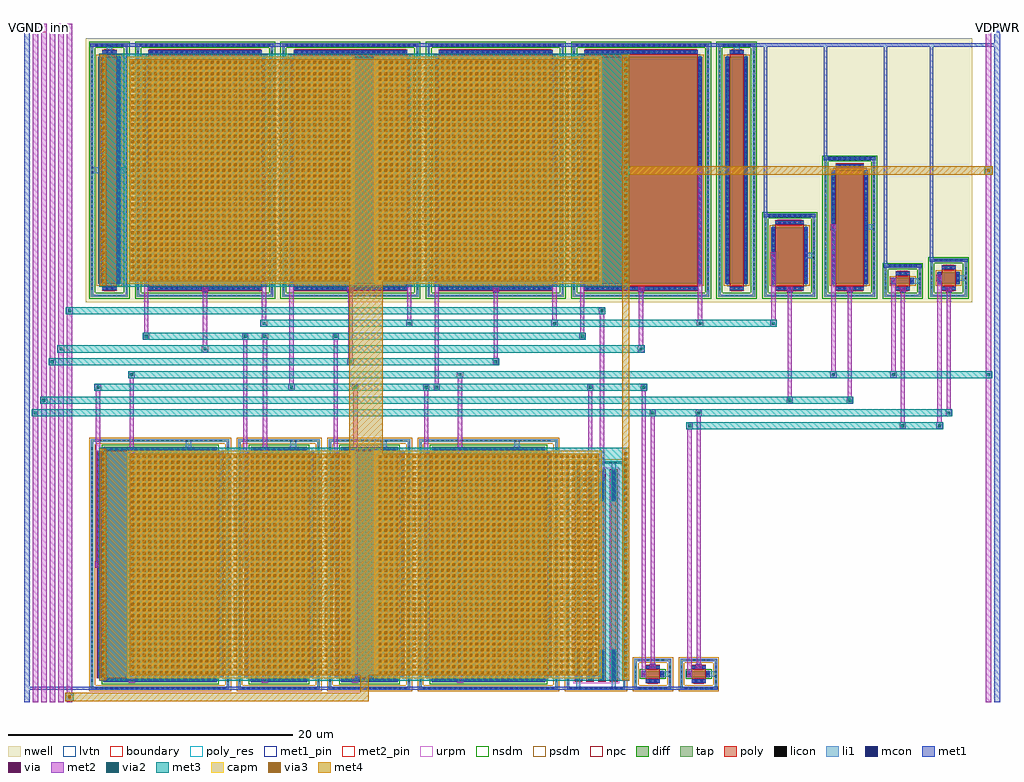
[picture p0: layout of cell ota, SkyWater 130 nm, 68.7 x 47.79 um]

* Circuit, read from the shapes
.subckt ota VDPWR VGND inn inp out pbias pd
XM1 VGND sky130_fd_pr__nfet_01v8_CSU8FU_2/D out VGND sky130_fd_pr__nfet_01v8 w=8 l=16 m=2
XM2 VGND sky130_fd_pr__nfet_01v8_CSU8FU_1/D sky130_fd_pr__nfet_01v8_CSU8FU_1/D VGND sky130_fd_pr__nfet_01v8 w=4 l=16
XM3 VGND sky130_fd_pr__nfet_01v8_CSU8FU_1/D sky130_fd_pr__nfet_01v8_CSU8FU_2/D VGND sky130_fd_pr__nfet_01v8 w=4 l=16
XM4 VGND pd sky130_fd_pr__nfet_01v8_CSU8FU_2/D VGND sky130_fd_pr__nfet_01v8 w=0.42 l=1
XM5 VGND pd sky130_fd_pr__nfet_01v8_R4QQLY_6/D VGND sky130_fd_pr__nfet_01v8 w=0.42 l=1
XM6 VDPWR VDPWR VDPWR VDPWR sky130_fd_pr__pfet_01v8_lvt w=16 l=1 m=2
XM7 sky130_fd_pr__pfet_01v8_lvt_HAFB3J_19/D inn sky130_fd_pr__nfet_01v8_CSU8FU_1/D VDPWR sky130_fd_pr__pfet_01v8_lvt w=16 l=8 m=2
XM8 sky130_fd_pr__pfet_01v8_lvt_HAFB3J_19/D inp sky130_fd_pr__nfet_01v8_CSU8FU_2/D VDPWR sky130_fd_pr__pfet_01v8_lvt w=16 l=8 m=2
XM9 VDPWR pbias sky130_fd_pr__pfet_01v8_lvt_HAFB3J_19/D VDPWR sky130_fd_pr__pfet_01v8_lvt w=4 l=2
XM10 VDPWR pbias out VDPWR sky130_fd_pr__pfet_01v8_lvt w=8 l=2
XM11 VDPWR sky130_fd_pr__nfet_01v8_R4QQLY_6/D out VDPWR sky130_fd_pr__pfet_01v8 w=0.42 l=1
XM12 VDPWR pd sky130_fd_pr__nfet_01v8_R4QQLY_6/D VDPWR sky130_fd_pr__pfet_01v8 w=0.84 l=1
XC13 sky130_fd_pr__cap_mim_m3_1_QZGL3U_12/C1 out sky130_fd_pr__cap_mim_m3_1 w=16 l=16 m=4
XR14 VGND VGND VGND sky130_fd_pr__res_xhigh_po w=0.35 l=10.49 m=2
XR15 sky130_fd_pr__nfet_01v8_CSU8FU_2/D sky130_fd_pr__res_xhigh_po_0p35_3T73LN_4/R2_1 VGND sky130_fd_pr__res_xhigh_po w=0.35 l=10.49
XR16 sky130_fd_pr__cap_mim_m3_1_QZGL3U_12/C1 sky130_fd_pr__res_xhigh_po_0p35_3T73LN_4/R2_1 VGND sky130_fd_pr__res_xhigh_po w=0.35 l=10.49
.ends

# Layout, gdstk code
from math import pi, radians
import gdstk
lib = gdstk.Library(unit=1e-6, precision=1e-09)
def R(c, l, rs):  # rectangles x0, y0, x1, y1
    for r in rs: c.add(gdstk.rectangle(r[:2], r[2:], *l))
def A(c, l, x, y, w, h, nx, ny, dx, dy):  # array of equal rectangles
    R(c, l, [(x+i*dx, y+j*dy, x+i*dx+w, y+j*dy+h) for i in range(nx) for j in range(ny)])
nwell = (64, 20)
diff = (65, 20)
tap = (65, 44)
poly_res = (66, 13)
poly = (66, 20)
licon = (66, 44)
li1 = (67, 20)
mcon = (67, 44)
met1_pin = (68, 16)
met1 = (68, 20)
via = (68, 44)
met2_pin = (69, 16)
met2 = (69, 20)
via2 = (69, 44)
met3 = (70, 20)
via3 = (70, 44)
met4 = (71, 20)
urpm = (79, 20)
capm = (89, 44)
nsdm = (93, 44)
psdm = (94, 20)
npc = (95, 20)
lvtn = (125, 44)
boundary = (235, 4)

sky130_fd_pr__nfet_01v8_ = lib.new_cell('sky130_fd_pr__nfet_01v8_ACH3XA')
R(sky130_fd_pr__nfet_01v8_, diff, [(-8.29,-4,8.29,4)])
R(sky130_fd_pr__nfet_01v8_, tap, [(-8.8,-4.87,8.8,-4.7), (-8.8,-4.7,-8.63,4.7), (8.63,-4.7,8.8,4.7), (-8.8,4.7,8.8,4.87)])
R(sky130_fd_pr__nfet_01v8_, poly, [(-8,-4.44,8,4.44)])
A(sky130_fd_pr__nfet_01v8_, licon, -8.245, -4.87, 0.17, 0.17, 49, 2, 0.34, 9.57)
A(sky130_fd_pr__nfet_01v8_, licon, -7.905, -4.36, 0.17, 0.17, 47, 2, 0.34, 8.55)
A(sky130_fd_pr__nfet_01v8_, licon, -8.8, -4.335, 0.17, 0.17, 1, 26, 0, 0.34)
A(sky130_fd_pr__nfet_01v8_, licon, 8.63, -4.335, 0.17, 0.17, 1, 26, 0, 0.34)
A(sky130_fd_pr__nfet_01v8_, licon, -8.23, -3.825, 0.17, 0.17, 1, 23, 0, 0.34)
A(sky130_fd_pr__nfet_01v8_, licon, 8.06, -3.825, 0.17, 0.17, 1, 23, 0, 0.34)
R(sky130_fd_pr__nfet_01v8_, li1, [(-8.8,-4.87,8.8,-4.7), (-8.8,-4.7,-8.63,4.7), (8.63,-4.7,8.8,4.7), (-8,-4.36,8,-4.19), (-8.23,-4.02,-8.06,4.02), (8.06,-4.02,8.23,4.02), (-8,4.19,8,4.36), (-8.8,4.7,8.8,4.87)])
A(sky130_fd_pr__nfet_01v8_, mcon, -8.8, -4.585, 0.17, 0.17, 1, 26, 0, 0.36)
A(sky130_fd_pr__nfet_01v8_, mcon, -7.825, -4.36, 0.17, 0.17, 44, 2, 0.36, 8.55)
A(sky130_fd_pr__nfet_01v8_, mcon, -8.23, -3.865, 0.17, 0.17, 1, 22, 0, 0.36)
A(sky130_fd_pr__nfet_01v8_, mcon, 8.06, -3.865, 0.17, 0.17, 1, 22, 0, 0.36)
R(sky130_fd_pr__nfet_01v8_, met1, [(-8.83,-4.76,-8.6,4.76), (-7.98,-4.39,7.98,-4.16), (-8.26,-4,-8.03,4), (8.03,-4,8.26,4), (-7.98,4.16,7.98,4.39)])
R(sky130_fd_pr__nfet_01v8_, nsdm, [(-8.415,-4.125,8.415,4.125)])
R(sky130_fd_pr__nfet_01v8_, psdm, [(-8.925,-4.995,8.925,-4.575), (-8.925,-4.575,-8.505,4.575), (8.505,-4.575,8.925,4.575), (-8.925,4.575,8.925,4.995)])
R(sky130_fd_pr__nfet_01v8_, npc, [(-8.005,-4.46,8.005,-4.09), (-8.005,4.09,8.005,4.46)])
R(sky130_fd_pr__nfet_01v8_, boundary, [(-8.715,-4.785,8.715,4.785)])
sky130_fd_pr__nfet_01v8_.add(gdstk.Label('B', (0,-4.785), layer=67, texttype=5))
sky130_fd_pr__nfet_01v8_.add(gdstk.Label('D', (-8.145,0), layer=67, texttype=5))
sky130_fd_pr__nfet_01v8_.add(gdstk.Label('S', (8.145,0), layer=67, texttype=5))
sky130_fd_pr__nfet_01v8_.add(gdstk.Label('G', (0,4.275), layer=67, texttype=5))

c_sky130_fd_pr__nfet_01v8_ = lib.new_cell('sky130_fd_pr__nfet_01v8_CSU8FU')
R(c_sky130_fd_pr__nfet_01v8_, diff, [(-8.29,-2,8.29,2)])
R(c_sky130_fd_pr__nfet_01v8_, tap, [(-8.8,-2.87,8.8,-2.7), (-8.8,-2.7,-8.63,2.7), (8.63,-2.7,8.8,2.7), (-8.8,2.7,8.8,2.87)])
R(c_sky130_fd_pr__nfet_01v8_, poly, [(-8,-2.44,8,2.44)])
A(c_sky130_fd_pr__nfet_01v8_, licon, -8.245, -2.87, 0.17, 0.17, 49, 2, 0.34, 5.57)
A(c_sky130_fd_pr__nfet_01v8_, licon, -7.905, -2.36, 0.17, 0.17, 47, 2, 0.34, 4.55)
A(c_sky130_fd_pr__nfet_01v8_, licon, -8.8, -2.295, 0.17, 0.17, 1, 14, 0, 0.34)
A(c_sky130_fd_pr__nfet_01v8_, licon, 8.63, -2.295, 0.17, 0.17, 1, 14, 0, 0.34)
A(c_sky130_fd_pr__nfet_01v8_, licon, -8.23, -1.785, 0.17, 0.17, 1, 11, 0, 0.34)
A(c_sky130_fd_pr__nfet_01v8_, licon, 8.06, -1.785, 0.17, 0.17, 1, 11, 0, 0.34)
R(c_sky130_fd_pr__nfet_01v8_, li1, [(-8.8,-2.87,8.8,-2.7), (-8.8,-2.7,-8.63,2.7), (8.63,-2.7,8.8,2.7), (-8,-2.36,8,-2.19), (-8.23,-2.02,-8.06,2.02), (8.06,-2.02,8.23,2.02), (-8,2.19,8,2.36), (-8.8,2.7,8.8,2.87)])
A(c_sky130_fd_pr__nfet_01v8_, mcon, -8.8, -2.605, 0.17, 0.17, 1, 15, 0, 0.36)
A(c_sky130_fd_pr__nfet_01v8_, mcon, -7.825, -2.36, 0.17, 0.17, 44, 2, 0.36, 4.55)
A(c_sky130_fd_pr__nfet_01v8_, mcon, -8.23, -1.885, 0.17, 0.17, 1, 11, 0, 0.36)
A(c_sky130_fd_pr__nfet_01v8_, mcon, 8.06, -1.885, 0.17, 0.17, 1, 11, 0, 0.36)
R(c_sky130_fd_pr__nfet_01v8_, met1, [(-8.83,-2.76,-8.6,2.76), (-7.98,-2.39,7.98,-2.16), (-8.26,-2,-8.03,2), (8.03,-2,8.26,2), (-7.98,2.16,7.98,2.39)])
R(c_sky130_fd_pr__nfet_01v8_, nsdm, [(-8.415,-2.125,8.415,2.125)])
R(c_sky130_fd_pr__nfet_01v8_, psdm, [(-8.925,-2.995,8.925,-2.575), (-8.925,-2.575,-8.505,2.575), (8.505,-2.575,8.925,2.575), (-8.925,2.575,8.925,2.995)])
R(c_sky130_fd_pr__nfet_01v8_, npc, [(-8.005,-2.46,8.005,-2.09), (-8.005,2.09,8.005,2.46)])
R(c_sky130_fd_pr__nfet_01v8_, boundary, [(-8.715,-2.785,8.715,2.785)])
c_sky130_fd_pr__nfet_01v8_.add(gdstk.Label('B', (0,-2.785), layer=67, texttype=5))
c_sky130_fd_pr__nfet_01v8_.add(gdstk.Label('D', (-8.145,0), layer=67, texttype=5))
c_sky130_fd_pr__nfet_01v8_.add(gdstk.Label('S', (8.145,0), layer=67, texttype=5))
c_sky130_fd_pr__nfet_01v8_.add(gdstk.Label('G', (0,2.275), layer=67, texttype=5))

sky130_fd_pr__res_xhigh_ = lib.new_cell('sky130_fd_pr__res_xhigh_po_0p35_3T73LN')
R(sky130_fd_pr__res_xhigh_, tap, [(-2.07,-8.035,2.07,-7.865), (-2.07,-7.865,-1.9,7.865), (1.9,-7.865,2.07,7.865), (-2.07,7.865,2.07,8.035)])
A(sky130_fd_pr__res_xhigh_, poly_res, -1.42, -5.305, 0.35, 10.61, 4, 1, 0.83, 0)
A(sky130_fd_pr__res_xhigh_, poly, -1.42, -7.385, 0.35, 14.77, 4, 1, 0.83, 0)
A(sky130_fd_pr__res_xhigh_, licon, -1.445, -8.035, 0.17, 0.17, 9, 2, 0.34, 15.9)
A(sky130_fd_pr__res_xhigh_, licon, -2.07, -7.395, 0.17, 0.17, 1, 44, 0, 0.34)
A(sky130_fd_pr__res_xhigh_, licon, 1.9, -7.395, 0.17, 0.17, 1, 44, 0, 0.34)
A(sky130_fd_pr__res_xhigh_, licon, -1.34, -7.305, 0.19, 2, 4, 2, 0.83, 12.61)
A(sky130_fd_pr__res_xhigh_, li1, -1.42, -7.385, 0.35, 2.16, 4, 2, 0.83, 12.61)
R(sky130_fd_pr__res_xhigh_, li1, [(-2.07,-8.035,2.07,-7.865), (-2.07,-7.865,-1.9,7.865), (1.9,-7.865,2.07,7.865), (-2.07,7.865,2.07,8.035)])
A(sky130_fd_pr__res_xhigh_, mcon, -1.885, -8.035, 0.17, 0.17, 11, 1, 0.36, 0)
A(sky130_fd_pr__res_xhigh_, mcon, -1.33, -7.29, 0.17, 0.17, 4, 6, 0.83, 0.36)
A(sky130_fd_pr__res_xhigh_, mcon, -1.33, 5.315, 0.17, 0.17, 4, 6, 0.83, 0.36)
A(sky130_fd_pr__res_xhigh_, met1, -1.37, -7.355, 0.25, 2.105, 4, 2, 0.83, 12.605)
R(sky130_fd_pr__res_xhigh_, met1, [(-1.96,-8.065,1.96,-7.835)])
R(sky130_fd_pr__res_xhigh_, urpm, [(-1.62,-7.585,1.62,7.585)])
R(sky130_fd_pr__res_xhigh_, psdm, [(-2.195,-8.16,2.195,8.16)])
A(sky130_fd_pr__res_xhigh_, npc, -1.515, -7.48, 0.54, 14.96, 4, 1, 0.83, 0)
R(sky130_fd_pr__res_xhigh_, boundary, [(-1.985,-7.95,1.985,7.95)])
sky130_fd_pr__res_xhigh_.add(gdstk.Label('B', (0,-7.95), layer=67, texttype=5))
sky130_fd_pr__res_xhigh_.add(gdstk.Label('R1_0', (-1.245,7.21), layer=67, texttype=5))
sky130_fd_pr__res_xhigh_.add(gdstk.Label('R2_0', (-1.245,-7.21), layer=67, texttype=5))
sky130_fd_pr__res_xhigh_.add(gdstk.Label('R1_1', (-0.415,7.21), layer=67, texttype=5))
sky130_fd_pr__res_xhigh_.add(gdstk.Label('R2_1', (-0.415,-7.21), layer=67, texttype=5))
sky130_fd_pr__res_xhigh_.add(gdstk.Label('R1_2', (0.415,7.21), layer=67, texttype=5))
sky130_fd_pr__res_xhigh_.add(gdstk.Label('R2_2', (0.415,-7.21), layer=67, texttype=5))
sky130_fd_pr__res_xhigh_.add(gdstk.Label('R1_3', (1.245,7.21), layer=67, texttype=5))
sky130_fd_pr__res_xhigh_.add(gdstk.Label('R2_3', (1.245,-7.21), layer=67, texttype=5))

c_sky130_fd_pr__nfet_01v8__ = lib.new_cell('sky130_fd_pr__nfet_01v8_R4QQLY')
R(c_sky130_fd_pr__nfet_01v8__, diff, [(-0.79,-0.21,0.79,0.21)])
R(c_sky130_fd_pr__nfet_01v8__, tap, [(-1.3,-1.08,1.3,-0.91), (-1.3,-0.91,-1.13,0.91), (1.13,-0.91,1.3,0.91), (-1.3,0.91,1.3,1.08)])
R(c_sky130_fd_pr__nfet_01v8__, poly, [(-0.5,-0.65,0.5,0.65)])
A(c_sky130_fd_pr__nfet_01v8__, licon, -0.765, -1.08, 0.17, 0.17, 5, 2, 0.34, 1.99)
A(c_sky130_fd_pr__nfet_01v8__, licon, -1.3, -0.595, 0.17, 0.17, 1, 4, 0, 0.34)
A(c_sky130_fd_pr__nfet_01v8__, licon, 1.13, -0.595, 0.17, 0.17, 1, 4, 0, 0.34)
R(c_sky130_fd_pr__nfet_01v8__, licon, [(-0.255,-0.57,-0.085,-0.4), (0.085,-0.57,0.255,-0.4), (-0.73,-0.085,-0.56,0.085), (0.56,-0.085,0.73,0.085), (-0.255,0.4,-0.085,0.57), (0.085,0.4,0.255,0.57)])
R(c_sky130_fd_pr__nfet_01v8__, li1, [(-1.3,-1.08,1.3,-0.91), (-1.3,-0.91,-1.13,0.91), (1.13,-0.91,1.3,0.91), (-0.5,-0.57,0.5,-0.4), (-0.73,-0.23,-0.56,0.23), (0.56,-0.23,0.73,0.23), (-0.5,0.4,0.5,0.57), (-1.3,0.91,1.3,1.08)])
A(c_sky130_fd_pr__nfet_01v8__, mcon, -0.985, -1.08, 0.17, 0.17, 6, 1, 0.36, 0)
R(c_sky130_fd_pr__nfet_01v8__, mcon, [(-0.265,-0.57,-0.095,-0.4), (0.095,-0.57,0.265,-0.4), (-0.73,-0.085,-0.56,0.085), (0.56,-0.085,0.73,0.085), (-0.265,0.4,-0.095,0.57), (0.095,0.4,0.265,0.57)])
R(c_sky130_fd_pr__nfet_01v8__, met1, [(-1.19,-1.11,1.19,-0.88), (-0.48,-0.6,0.48,-0.37), (-0.76,-0.21,-0.53,0.21), (0.53,-0.21,0.76,0.21), (-0.48,0.37,0.48,0.6)])
R(c_sky130_fd_pr__nfet_01v8__, nsdm, [(-0.915,-0.335,0.915,0.335)])
R(c_sky130_fd_pr__nfet_01v8__, psdm, [(-1.425,-1.205,1.425,-0.785), (-1.425,-0.785,-1.005,0.785), (1.005,-0.785,1.425,0.785), (-1.425,0.785,1.425,1.205)])
R(c_sky130_fd_pr__nfet_01v8__, npc, [(-0.355,-0.67,0.355,-0.3), (-0.355,0.3,0.355,0.67)])
R(c_sky130_fd_pr__nfet_01v8__, boundary, [(-1.215,-0.995,1.215,0.995)])
c_sky130_fd_pr__nfet_01v8__.add(gdstk.Label('B', (0,-0.995), layer=67, texttype=5))
c_sky130_fd_pr__nfet_01v8__.add(gdstk.Label('D', (-0.645,0), layer=67, texttype=5))
c_sky130_fd_pr__nfet_01v8__.add(gdstk.Label('S', (0.645,0), layer=67, texttype=5))
c_sky130_fd_pr__nfet_01v8__.add(gdstk.Label('G', (0,0.485), layer=67, texttype=5))

sky130_fd_pr__pfet_01v8_ = lib.new_cell('sky130_fd_pr__pfet_01v8_lvt_LXFZ2J')
R(sky130_fd_pr__pfet_01v8_, nwell, [(-1.48,-9.095,1.48,9.095)])
R(sky130_fd_pr__pfet_01v8_, diff, [(-0.79,-8,0.79,8)])
R(sky130_fd_pr__pfet_01v8_, tap, [(-1.3,-8.915,1.3,-8.745), (-1.3,-8.745,-1.13,8.745), (1.13,-8.745,1.3,8.745), (-1.3,8.745,1.3,8.915)])
R(sky130_fd_pr__pfet_01v8_, poly, [(-0.5,-8.485,0.5,8.485)])
A(sky130_fd_pr__pfet_01v8_, licon, -0.765, -8.915, 0.17, 0.17, 5, 2, 0.34, 17.66)
A(sky130_fd_pr__pfet_01v8_, licon, -1.3, -8.415, 0.17, 0.17, 1, 50, 0, 0.34)
A(sky130_fd_pr__pfet_01v8_, licon, 1.13, -8.415, 0.17, 0.17, 1, 50, 0, 0.34)
A(sky130_fd_pr__pfet_01v8_, licon, -0.73, -7.905, 0.17, 0.17, 1, 47, 0, 0.34)
A(sky130_fd_pr__pfet_01v8_, licon, 0.56, -7.905, 0.17, 0.17, 1, 47, 0, 0.34)
R(sky130_fd_pr__pfet_01v8_, licon, [(-0.255,-8.405,-0.085,-8.235), (0.085,-8.405,0.255,-8.235), (-0.255,8.235,-0.085,8.405), (0.085,8.235,0.255,8.405)])
R(sky130_fd_pr__pfet_01v8_, li1, [(-1.3,-8.915,1.3,-8.745), (-1.3,-8.745,-1.13,8.745), (1.13,-8.745,1.3,8.745), (-0.5,-8.405,0.5,-8.235), (-0.73,-8.02,-0.56,8.02), (0.56,-8.02,0.73,8.02), (-0.5,8.235,0.5,8.405), (-1.3,8.745,1.3,8.915)])
A(sky130_fd_pr__pfet_01v8_, mcon, -0.73, -7.825, 0.17, 0.17, 1, 44, 0, 0.36)
A(sky130_fd_pr__pfet_01v8_, mcon, 0.56, -7.825, 0.17, 0.17, 1, 44, 0, 0.36)
A(sky130_fd_pr__pfet_01v8_, mcon, -0.985, 8.745, 0.17, 0.17, 6, 1, 0.36, 0)
R(sky130_fd_pr__pfet_01v8_, mcon, [(-0.265,-8.405,-0.095,-8.235), (0.095,-8.405,0.265,-8.235), (-0.265,8.235,-0.095,8.405), (0.095,8.235,0.265,8.405)])
R(sky130_fd_pr__pfet_01v8_, met1, [(-0.48,-8.435,0.48,-8.205), (-0.76,-8,-0.53,8), (0.53,-8,0.76,8), (-0.48,8.205,0.48,8.435), (-1.19,8.715,1.19,8.945)])
R(sky130_fd_pr__pfet_01v8_, nsdm, [(-1.425,-9.04,1.425,-8.62), (-1.425,-8.62,-1.005,8.62), (1.005,-8.62,1.425,8.62), (-1.425,8.62,1.425,9.04)])
R(sky130_fd_pr__pfet_01v8_, psdm, [(-0.915,-8.125,0.915,8.125)])
R(sky130_fd_pr__pfet_01v8_, npc, [(-0.355,-8.505,0.355,-8.135), (-0.355,8.135,0.355,8.505)])
R(sky130_fd_pr__pfet_01v8_, lvtn, [(-0.68,-8.18,0.68,8.18)])
R(sky130_fd_pr__pfet_01v8_, boundary, [(-1.215,-8.83,1.215,8.83)])
sky130_fd_pr__pfet_01v8_.add(gdstk.Label('B', (0,-8.83), layer=67, texttype=5))
sky130_fd_pr__pfet_01v8_.add(gdstk.Label('D', (-0.645,0), layer=67, texttype=5))
sky130_fd_pr__pfet_01v8_.add(gdstk.Label('S', (0.645,0), layer=67, texttype=5))
sky130_fd_pr__pfet_01v8_.add(gdstk.Label('G', (0,8.32), layer=67, texttype=5))

c_sky130_fd_pr__pfet_01v8_ = lib.new_cell('sky130_fd_pr__pfet_01v8_lvt_BDGZ2J')
R(c_sky130_fd_pr__pfet_01v8_, nwell, [(-4.98,-9.095,4.98,9.095)])
R(c_sky130_fd_pr__pfet_01v8_, diff, [(-4.29,-8,4.29,8)])
R(c_sky130_fd_pr__pfet_01v8_, tap, [(-4.8,-8.915,4.8,-8.745), (-4.8,-8.745,-4.63,8.745), (4.63,-8.745,4.8,8.745), (-4.8,8.745,4.8,8.915)])
R(c_sky130_fd_pr__pfet_01v8_, poly, [(-4,-8.485,4,8.485)])
A(c_sky130_fd_pr__pfet_01v8_, licon, -4.165, -8.915, 0.17, 0.17, 25, 2, 0.34, 17.66)
A(c_sky130_fd_pr__pfet_01v8_, licon, -4.8, -8.415, 0.17, 0.17, 1, 50, 0, 0.34)
A(c_sky130_fd_pr__pfet_01v8_, licon, 4.63, -8.415, 0.17, 0.17, 1, 50, 0, 0.34)
A(c_sky130_fd_pr__pfet_01v8_, licon, -3.825, -8.405, 0.17, 0.17, 23, 2, 0.34, 16.64)
A(c_sky130_fd_pr__pfet_01v8_, licon, -4.23, -7.905, 0.17, 0.17, 1, 47, 0, 0.34)
A(c_sky130_fd_pr__pfet_01v8_, licon, 4.06, -7.905, 0.17, 0.17, 1, 47, 0, 0.34)
R(c_sky130_fd_pr__pfet_01v8_, li1, [(-4.8,-8.915,4.8,-8.745), (-4.8,-8.745,-4.63,8.745), (4.63,-8.745,4.8,8.745), (-4,-8.405,4,-8.235), (-4.23,-8.02,-4.06,8.02), (4.06,-8.02,4.23,8.02), (-4,8.235,4,8.405), (-4.8,8.745,4.8,8.915)])
A(c_sky130_fd_pr__pfet_01v8_, mcon, -3.865, -8.405, 0.17, 0.17, 22, 2, 0.36, 16.64)
A(c_sky130_fd_pr__pfet_01v8_, mcon, -4.23, -7.825, 0.17, 0.17, 1, 44, 0, 0.36)
A(c_sky130_fd_pr__pfet_01v8_, mcon, 4.06, -7.825, 0.17, 0.17, 1, 44, 0, 0.36)
A(c_sky130_fd_pr__pfet_01v8_, mcon, -4.585, 8.745, 0.17, 0.17, 26, 1, 0.36, 0)
R(c_sky130_fd_pr__pfet_01v8_, met1, [(-3.98,-8.435,3.98,-8.205), (-4.26,-8,-4.03,8), (4.03,-8,4.26,8), (-3.98,8.205,3.98,8.435), (-4.69,8.715,4.69,8.945)])
R(c_sky130_fd_pr__pfet_01v8_, nsdm, [(-4.925,-9.04,4.925,-8.62), (-4.925,-8.62,-4.505,8.62), (4.505,-8.62,4.925,8.62), (-4.925,8.62,4.925,9.04)])
R(c_sky130_fd_pr__pfet_01v8_, psdm, [(-4.415,-8.125,4.415,8.125)])
R(c_sky130_fd_pr__pfet_01v8_, npc, [(-3.925,-8.505,3.925,-8.135), (-3.925,8.135,3.925,8.505)])
R(c_sky130_fd_pr__pfet_01v8_, lvtn, [(-4.18,-8.18,4.18,8.18)])
R(c_sky130_fd_pr__pfet_01v8_, boundary, [(-4.715,-8.83,4.715,8.83)])
c_sky130_fd_pr__pfet_01v8_.add(gdstk.Label('B', (0,-8.83), layer=67, texttype=5))
c_sky130_fd_pr__pfet_01v8_.add(gdstk.Label('D', (-4.145,0), layer=67, texttype=5))
c_sky130_fd_pr__pfet_01v8_.add(gdstk.Label('S', (4.145,0), layer=67, texttype=5))
c_sky130_fd_pr__pfet_01v8_.add(gdstk.Label('G', (0,8.32), layer=67, texttype=5))

sky130_fd_pr__cap_mim_m3 = lib.new_cell('sky130_fd_pr__cap_mim_m3_1_QZGL3U')
R(sky130_fd_pr__cap_mim_m3, met3, [(-9.08,-8.2,9.08,8.2)])
A(sky130_fd_pr__cap_mim_m3, via3, 8.72, -7.9, 0.2, 0.2, 1, 40, 0, 0.4)
A(sky130_fd_pr__cap_mim_m3, via3, -8.58, -7.7, 0.2, 0.2, 39, 39, 0.4, 0.4)
R(sky130_fd_pr__cap_mim_m3, met4, [(8.58,-8.14,9.06,8.14), (-8.685,-7.805,6.925,7.805)])
R(sky130_fd_pr__cap_mim_m3, capm, [(-8.88,-8,7.12,8)])
R(sky130_fd_pr__cap_mim_m3, boundary, [(-9.08,-8.2,7.32,8.2)])
sky130_fd_pr__cap_mim_m3.add(gdstk.Label('C2', (8.82,0), layer=71, texttype=5))
sky130_fd_pr__cap_mim_m3.add(gdstk.Label('C1', (-0.88,0), layer=71, texttype=5))

c_sky130_fd_pr__pfet_01v8__ = lib.new_cell('sky130_fd_pr__pfet_01v8_LAH9QK')
R(c_sky130_fd_pr__pfet_01v8__, nwell, [(-1.48,-1.515,1.48,1.515)])
R(c_sky130_fd_pr__pfet_01v8__, diff, [(-0.79,-0.42,0.79,0.42)])
R(c_sky130_fd_pr__pfet_01v8__, tap, [(-1.3,-1.335,1.3,-1.165), (-1.3,-1.165,-1.13,1.165), (1.13,-1.165,1.3,1.165), (-1.3,1.165,1.3,1.335)])
R(c_sky130_fd_pr__pfet_01v8__, poly, [(-0.5,-0.905,0.5,0.905)])
A(c_sky130_fd_pr__pfet_01v8__, licon, -0.765, -1.335, 0.17, 0.17, 5, 2, 0.34, 2.5)
A(c_sky130_fd_pr__pfet_01v8__, licon, -1.3, -0.765, 0.17, 0.17, 1, 5, 0, 0.34)
A(c_sky130_fd_pr__pfet_01v8__, licon, 1.13, -0.765, 0.17, 0.17, 1, 5, 0, 0.34)
R(c_sky130_fd_pr__pfet_01v8__, licon, [(-0.255,-0.825,-0.085,-0.655), (0.085,-0.825,0.255,-0.655), (-0.73,-0.255,-0.56,-0.085), (0.56,-0.255,0.73,-0.085), (-0.73,0.085,-0.56,0.255), (0.56,0.085,0.73,0.255), (-0.255,0.655,-0.085,0.825), (0.085,0.655,0.255,0.825)])
R(c_sky130_fd_pr__pfet_01v8__, li1, [(-1.3,-1.335,1.3,-1.165), (-1.3,-1.165,-1.13,1.165), (1.13,-1.165,1.3,1.165), (-0.5,-0.825,0.5,-0.655), (-0.73,-0.44,-0.56,0.44), (0.56,-0.44,0.73,0.44), (-0.5,0.655,0.5,0.825), (-1.3,1.165,1.3,1.335)])
A(c_sky130_fd_pr__pfet_01v8__, mcon, -0.985, 1.165, 0.17, 0.17, 6, 1, 0.36, 0)
R(c_sky130_fd_pr__pfet_01v8__, mcon, [(-0.265,-0.825,-0.095,-0.655), (0.095,-0.825,0.265,-0.655), (-0.73,-0.265,-0.56,-0.095), (0.56,-0.265,0.73,-0.095), (-0.73,0.095,-0.56,0.265), (0.56,0.095,0.73,0.265), (-0.265,0.655,-0.095,0.825), (0.095,0.655,0.265,0.825)])
R(c_sky130_fd_pr__pfet_01v8__, met1, [(-0.48,-0.855,0.48,-0.625), (-0.76,-0.42,-0.53,0.42), (0.53,-0.42,0.76,0.42), (-0.48,0.625,0.48,0.855), (-1.19,1.135,1.19,1.365)])
R(c_sky130_fd_pr__pfet_01v8__, nsdm, [(-1.425,-1.46,1.425,-1.04), (-1.425,-1.04,-1.005,1.04), (1.005,-1.04,1.425,1.04), (-1.425,1.04,1.425,1.46)])
R(c_sky130_fd_pr__pfet_01v8__, psdm, [(-0.915,-0.545,0.915,0.545)])
R(c_sky130_fd_pr__pfet_01v8__, npc, [(-0.355,-0.925,0.355,-0.555), (-0.355,0.555,0.355,0.925)])
R(c_sky130_fd_pr__pfet_01v8__, boundary, [(-1.215,-1.25,1.215,1.25)])
c_sky130_fd_pr__pfet_01v8__.add(gdstk.Label('B', (0,-1.25), layer=67, texttype=5))
c_sky130_fd_pr__pfet_01v8__.add(gdstk.Label('D', (-0.645,0), layer=67, texttype=5))
c_sky130_fd_pr__pfet_01v8__.add(gdstk.Label('S', (0.645,0), layer=67, texttype=5))
c_sky130_fd_pr__pfet_01v8__.add(gdstk.Label('G', (0,0.74), layer=67, texttype=5))

c_sky130_fd_pr__pfet_01v8___ = lib.new_cell('sky130_fd_pr__pfet_01v8_LVGDKL')
R(c_sky130_fd_pr__pfet_01v8___, nwell, [(-1.48,-1.305,1.48,1.305)])
R(c_sky130_fd_pr__pfet_01v8___, diff, [(-0.79,-0.21,0.79,0.21)])
R(c_sky130_fd_pr__pfet_01v8___, tap, [(-1.3,-1.125,1.3,-0.955), (-1.3,-0.955,-1.13,0.955), (1.13,-0.955,1.3,0.955), (-1.3,0.955,1.3,1.125)])
R(c_sky130_fd_pr__pfet_01v8___, poly, [(-0.5,-0.695,0.5,0.695)])
A(c_sky130_fd_pr__pfet_01v8___, licon, -0.765, -1.125, 0.17, 0.17, 5, 2, 0.34, 2.08)
A(c_sky130_fd_pr__pfet_01v8___, licon, -1.3, -0.595, 0.17, 0.17, 1, 4, 0, 0.34)
A(c_sky130_fd_pr__pfet_01v8___, licon, 1.13, -0.595, 0.17, 0.17, 1, 4, 0, 0.34)
R(c_sky130_fd_pr__pfet_01v8___, licon, [(-0.255,-0.615,-0.085,-0.445), (0.085,-0.615,0.255,-0.445), (-0.73,-0.085,-0.56,0.085), (0.56,-0.085,0.73,0.085), (-0.255,0.445,-0.085,0.615), (0.085,0.445,0.255,0.615)])
R(c_sky130_fd_pr__pfet_01v8___, li1, [(-1.3,-1.125,1.3,-0.955), (-1.3,-0.955,-1.13,0.955), (1.13,-0.955,1.3,0.955), (-0.5,-0.615,0.5,-0.445), (-0.73,-0.23,-0.56,0.23), (0.56,-0.23,0.73,0.23), (-0.5,0.445,0.5,0.615), (-1.3,0.955,1.3,1.125)])
A(c_sky130_fd_pr__pfet_01v8___, mcon, -0.985, 0.955, 0.17, 0.17, 6, 1, 0.36, 0)
R(c_sky130_fd_pr__pfet_01v8___, mcon, [(-0.265,-0.615,-0.095,-0.445), (0.095,-0.615,0.265,-0.445), (-0.73,-0.085,-0.56,0.085), (0.56,-0.085,0.73,0.085), (-0.265,0.445,-0.095,0.615), (0.095,0.445,0.265,0.615)])
R(c_sky130_fd_pr__pfet_01v8___, met1, [(-0.48,-0.645,0.48,-0.415), (-0.76,-0.21,-0.53,0.21), (0.53,-0.21,0.76,0.21), (-0.48,0.415,0.48,0.645), (-1.19,0.925,1.19,1.155)])
R(c_sky130_fd_pr__pfet_01v8___, nsdm, [(-1.425,-1.25,1.425,-0.83), (-1.425,-0.83,-1.005,0.83), (1.005,-0.83,1.425,0.83), (-1.425,0.83,1.425,1.25)])
R(c_sky130_fd_pr__pfet_01v8___, psdm, [(-0.915,-0.335,0.915,0.335)])
R(c_sky130_fd_pr__pfet_01v8___, npc, [(-0.355,-0.715,0.355,-0.345), (-0.355,0.345,0.355,0.715)])
R(c_sky130_fd_pr__pfet_01v8___, boundary, [(-1.215,-1.04,1.215,1.04)])
c_sky130_fd_pr__pfet_01v8___.add(gdstk.Label('B', (0,-1.04), layer=67, texttype=5))
c_sky130_fd_pr__pfet_01v8___.add(gdstk.Label('D', (-0.645,0), layer=67, texttype=5))
c_sky130_fd_pr__pfet_01v8___.add(gdstk.Label('S', (0.645,0), layer=67, texttype=5))
c_sky130_fd_pr__pfet_01v8___.add(gdstk.Label('G', (0,0.53), layer=67, texttype=5))

c_sky130_fd_pr__pfet_01v8____ = lib.new_cell('sky130_fd_pr__pfet_01v8_lvt_HU8C3J')
R(c_sky130_fd_pr__pfet_01v8____, nwell, [(-1.98,-5.095,1.98,5.095)])
R(c_sky130_fd_pr__pfet_01v8____, diff, [(-1.29,-4,1.29,4)])
R(c_sky130_fd_pr__pfet_01v8____, tap, [(-1.8,-4.915,1.8,-4.745), (-1.8,-4.745,-1.63,4.745), (1.63,-4.745,1.8,4.745), (-1.8,4.745,1.8,4.915)])
R(c_sky130_fd_pr__pfet_01v8____, poly, [(-1,-4.485,1,4.485)])
A(c_sky130_fd_pr__pfet_01v8____, licon, -1.275, -4.915, 0.17, 0.17, 8, 2, 0.34, 9.66)
A(c_sky130_fd_pr__pfet_01v8____, licon, -0.765, -4.405, 0.17, 0.17, 5, 2, 0.34, 8.64)
A(c_sky130_fd_pr__pfet_01v8____, licon, -1.8, -4.335, 0.17, 0.17, 1, 26, 0, 0.34)
A(c_sky130_fd_pr__pfet_01v8____, licon, 1.63, -4.335, 0.17, 0.17, 1, 26, 0, 0.34)
A(c_sky130_fd_pr__pfet_01v8____, licon, -1.23, -3.825, 0.17, 0.17, 1, 23, 0, 0.34)
A(c_sky130_fd_pr__pfet_01v8____, licon, 1.06, -3.825, 0.17, 0.17, 1, 23, 0, 0.34)
R(c_sky130_fd_pr__pfet_01v8____, li1, [(-1.8,-4.915,1.8,-4.745), (-1.8,-4.745,-1.63,4.745), (1.63,-4.745,1.8,4.745), (-1,-4.405,1,-4.235), (-1.23,-4.02,-1.06,4.02), (1.06,-4.02,1.23,4.02), (-1,4.235,1,4.405), (-1.8,4.745,1.8,4.915)])
A(c_sky130_fd_pr__pfet_01v8____, mcon, -0.805, -4.405, 0.17, 0.17, 5, 2, 0.36, 8.64)
A(c_sky130_fd_pr__pfet_01v8____, mcon, -1.23, -3.865, 0.17, 0.17, 1, 22, 0, 0.36)
A(c_sky130_fd_pr__pfet_01v8____, mcon, 1.06, -3.865, 0.17, 0.17, 1, 22, 0, 0.36)
A(c_sky130_fd_pr__pfet_01v8____, mcon, -1.525, 4.745, 0.17, 0.17, 9, 1, 0.36, 0)
R(c_sky130_fd_pr__pfet_01v8____, met1, [(-0.98,-4.435,0.98,-4.205), (-1.26,-4,-1.03,4), (1.03,-4,1.26,4), (-0.98,4.205,0.98,4.435), (-1.69,4.715,1.69,4.945)])
R(c_sky130_fd_pr__pfet_01v8____, nsdm, [(-1.925,-5.04,1.925,-4.62), (-1.925,-4.62,-1.505,4.62), (1.505,-4.62,1.925,4.62), (-1.925,4.62,1.925,5.04)])
R(c_sky130_fd_pr__pfet_01v8____, psdm, [(-1.415,-4.125,1.415,4.125)])
R(c_sky130_fd_pr__pfet_01v8____, npc, [(-0.865,-4.505,0.865,-4.135), (-0.865,4.135,0.865,4.505)])
R(c_sky130_fd_pr__pfet_01v8____, lvtn, [(-1.18,-4.18,1.18,4.18)])
R(c_sky130_fd_pr__pfet_01v8____, boundary, [(-1.715,-4.83,1.715,4.83)])
c_sky130_fd_pr__pfet_01v8____.add(gdstk.Label('B', (0,-4.83), layer=67, texttype=5))
c_sky130_fd_pr__pfet_01v8____.add(gdstk.Label('D', (-1.145,0), layer=67, texttype=5))
c_sky130_fd_pr__pfet_01v8____.add(gdstk.Label('S', (1.145,0), layer=67, texttype=5))
c_sky130_fd_pr__pfet_01v8____.add(gdstk.Label('G', (0,4.32), layer=67, texttype=5))

c_sky130_fd_pr__pfet_01v8_____ = lib.new_cell('sky130_fd_pr__pfet_01v8_lvt_HAFB3J')
R(c_sky130_fd_pr__pfet_01v8_____, nwell, [(-1.98,-3.095,1.98,3.095)])
R(c_sky130_fd_pr__pfet_01v8_____, diff, [(-1.29,-2,1.29,2)])
R(c_sky130_fd_pr__pfet_01v8_____, tap, [(-1.8,-2.915,1.8,-2.745), (-1.8,-2.745,-1.63,2.745), (1.63,-2.745,1.8,2.745), (-1.8,2.745,1.8,2.915)])
R(c_sky130_fd_pr__pfet_01v8_____, poly, [(-1,-2.485,1,2.485)])
A(c_sky130_fd_pr__pfet_01v8_____, licon, -1.275, -2.915, 0.17, 0.17, 8, 2, 0.34, 5.66)
A(c_sky130_fd_pr__pfet_01v8_____, licon, -0.765, -2.405, 0.17, 0.17, 5, 2, 0.34, 4.64)
A(c_sky130_fd_pr__pfet_01v8_____, licon, -1.8, -2.295, 0.17, 0.17, 1, 14, 0, 0.34)
A(c_sky130_fd_pr__pfet_01v8_____, licon, 1.63, -2.295, 0.17, 0.17, 1, 14, 0, 0.34)
A(c_sky130_fd_pr__pfet_01v8_____, licon, -1.23, -1.785, 0.17, 0.17, 1, 11, 0, 0.34)
A(c_sky130_fd_pr__pfet_01v8_____, licon, 1.06, -1.785, 0.17, 0.17, 1, 11, 0, 0.34)
R(c_sky130_fd_pr__pfet_01v8_____, li1, [(-1.8,-2.915,1.8,-2.745), (-1.8,-2.745,-1.63,2.745), (1.63,-2.745,1.8,2.745), (-1,-2.405,1,-2.235), (-1.23,-2.02,-1.06,2.02), (1.06,-2.02,1.23,2.02), (-1,2.235,1,2.405), (-1.8,2.745,1.8,2.915)])
A(c_sky130_fd_pr__pfet_01v8_____, mcon, -0.805, -2.405, 0.17, 0.17, 5, 2, 0.36, 4.64)
A(c_sky130_fd_pr__pfet_01v8_____, mcon, -1.23, -1.885, 0.17, 0.17, 1, 11, 0, 0.36)
A(c_sky130_fd_pr__pfet_01v8_____, mcon, 1.06, -1.885, 0.17, 0.17, 1, 11, 0, 0.36)
A(c_sky130_fd_pr__pfet_01v8_____, mcon, -1.525, 2.745, 0.17, 0.17, 9, 1, 0.36, 0)
R(c_sky130_fd_pr__pfet_01v8_____, met1, [(-0.98,-2.435,0.98,-2.205), (-1.26,-2,-1.03,2), (1.03,-2,1.26,2), (-0.98,2.205,0.98,2.435), (-1.69,2.715,1.69,2.945)])
R(c_sky130_fd_pr__pfet_01v8_____, nsdm, [(-1.925,-3.04,1.925,-2.62), (-1.925,-2.62,-1.505,2.62), (1.505,-2.62,1.925,2.62), (-1.925,2.62,1.925,3.04)])
R(c_sky130_fd_pr__pfet_01v8_____, psdm, [(-1.415,-2.125,1.415,2.125)])
R(c_sky130_fd_pr__pfet_01v8_____, npc, [(-0.865,-2.505,0.865,-2.135), (-0.865,2.135,0.865,2.505)])
R(c_sky130_fd_pr__pfet_01v8_____, lvtn, [(-1.18,-2.18,1.18,2.18)])
R(c_sky130_fd_pr__pfet_01v8_____, boundary, [(-1.715,-2.83,1.715,2.83)])
c_sky130_fd_pr__pfet_01v8_____.add(gdstk.Label('B', (0,-2.83), layer=67, texttype=5))
c_sky130_fd_pr__pfet_01v8_____.add(gdstk.Label('D', (-1.145,0), layer=67, texttype=5))
c_sky130_fd_pr__pfet_01v8_____.add(gdstk.Label('S', (1.145,0), layer=67, texttype=5))
c_sky130_fd_pr__pfet_01v8_____.add(gdstk.Label('G', (0,2.32), layer=67, texttype=5))

ota = lib.new_cell('ota')
R(ota, nwell, [(-0.45,27.18,61.95,45.74)])
R(ota, li1, [(34.07,-0.085,34.37,1.04), (36.56,-0.085,36.86,1.04), (40.025,0.795,40.765,1.195), (43.255,0.795,43.995,1.195), (34.07,14.86,34.37,15.985), (36.56,14.86,36.86,15.985), (6.585,16.775,6.985,17.515), (13.955,16.775,14.355,17.515), (20.325,16.775,20.725,17.515), (29.695,16.775,30.095,17.515), (57.615,28.47,58.355,28.87), (60.845,28.68,61.585,29.08), (50.155,30.26,50.895,30.66), (54.385,32.26,55.125,32.66), (-0.085,36.26,0.655,36.66), (1.775,36.26,2.515,36.66), (44.065,36.26,44.805,36.66), (45.925,36.26,46.665,36.66), (1.015,44.695,1.415,45.375), (45.165,44.695,45.565,45.375)])
R(ota, met1_pin, [(-4.8,46.19,-4.4,46.79), (63.5,46.19,63.9,46.79)])
A(ota, met1, 10.595, 8.5, 0.37, 0.43, 3, 1, 6.37, 0)
A(ota, met1, 7.73, 27.885, 0.43, 0.37, 4, 1, 10.23, 0)
R(ota, met1, [(-4.8,-1,-4.4,-0.12), (63.5,-1,63.9,45.17), (-4.8,-0.12,44.03,0.12), (-4.8,0.12,-4.4,46.79), (2.57,0.385,3,0.755), (11.94,0.385,12.37,0.755), (18.31,0.385,18.74,0.755), (25.68,0.385,26.11,0.755), (38.635,0.78,39.005,1.21), (41.865,0.78,42.235,1.21), (34.925,0.85,36.005,1.15), (39.25,1.365,39.68,1.735), (42.48,1.365,42.91,1.735), (0.225,8.5,0.595,8.93), (34.865,14.635,35.235,15.065), (35.695,14.635,36.065,15.065), (48.88,27.885,49.31,28.255), (53.11,27.885,53.54,28.255), (56.84,27.885,57.27,28.255), (60.07,27.885,60.5,28.255), (56.225,28.455,56.595,28.885), (59.455,28.665,59.825,29.095), (55.72,29.59,58.39,29.83), (55.72,29.83,55.96,45.17), (58.95,30.01,61.62,30.25), (47.765,30.245,48.135,30.675), (58.95,30.25,59.19,45.17), (51.995,32.245,52.365,32.675), (47.26,33.17,50.93,33.41), (47.26,33.41,47.5,45.17), (3.615,36.245,3.985,36.675), (11.905,36.245,12.275,36.675), (13.845,36.245,14.215,36.675), (22.135,36.245,22.505,36.675), (24.075,36.245,24.445,36.675), (32.365,36.245,32.735,36.675), (34.305,36.245,34.675,36.675), (42.595,36.245,42.965,36.675), (51.49,37.17,55.16,37.41), (51.49,37.41,51.73,45.17), (-0.12,45.17,63.9,45.41), (63.5,45.41,63.9,46.79)])
A(ota, via, 10.705, 8.64, 0.15, 0.15, 3, 1, 6.37, 0)
A(ota, via, 7.87, 27.995, 0.15, 0.15, 4, 1, 10.23, 0)
R(ota, via, [(2.71,0.495,2.86,0.645), (12.08,0.495,12.23,0.645), (18.45,0.495,18.6,0.645), (25.82,0.495,25.97,0.645), (38.745,0.92,38.895,1.07), (41.975,0.92,42.125,1.07), (39.39,1.475,39.54,1.625), (42.62,1.475,42.77,1.625), (0.335,8.64,0.485,8.79), (34.975,14.775,35.125,14.925), (35.805,14.775,35.955,14.925), (49.02,27.995,49.17,28.145), (53.25,27.995,53.4,28.145), (56.98,27.995,57.13,28.145), (60.21,27.995,60.36,28.145), (56.335,28.595,56.485,28.745), (59.565,28.805,59.715,28.955), (47.875,30.385,48.025,30.535), (52.105,32.385,52.255,32.535), (3.725,36.385,3.875,36.535), (12.015,36.385,12.165,36.535), (13.955,36.385,14.105,36.535), (22.245,36.385,22.395,36.535), (24.185,36.385,24.335,36.535), (32.475,36.385,32.625,36.535), (34.415,36.385,34.565,36.535), (42.705,36.385,42.855,36.535)])
A(ota, met2_pin, -4.2, 46.19, 0.4, 0.6, 4, 1, 0.6, 0)
R(ota, met2_pin, [(62.9,46.19,63.3,46.79)])
A(ota, met2, 10.595, 8.5, 0.37, 0.43, 3, 1, 6.37, 0)
A(ota, met2, 11.87, 25.46, 0.44, 0.44, 4, 1, 10.23, 0)
A(ota, met2, 11.94, 25.9, 0.3, 10.345, 4, 1, 10.23, 0)
A(ota, met2, 7.73, 27.885, 0.43, 0.37, 4, 1, 10.23, 0)
R(ota, met2, [(-4.2,-1,-3.8,19.16), (-3.6,-1,-3.2,20.06), (-3,-1,-2.6,22.76), (-2.4,-1,-2,23.66), (-1.8,-1,-1.4,-0.85), (62.9,-1,63.3,21.86), (-1.85,-0.85,-1.35,-0.35), (-1.8,-0.35,-1.4,26.36), (2.57,0.385,3,0.755), (11.94,0.385,12.37,0.755), (18.31,0.385,18.74,0.755), (25.68,0.385,26.11,0.755), (2.635,0.755,2.935,21.86), (12.005,0.755,12.305,24.56), (18.375,0.755,18.675,20.96), (25.745,0.755,26.045,21.86), (38.635,0.78,39.005,1.21), (41.865,0.78,42.235,1.21), (38.67,1.21,38.97,20.96), (41.9,1.21,42.2,18.26), (39.25,1.365,39.68,1.735), (42.48,1.365,42.91,1.735), (39.315,1.735,39.615,19.16), (42.545,1.735,42.845,19.16), (0.225,8.5,0.595,8.93), (0.26,8.93,0.56,20.96), (10.63,8.93,10.93,24.56), (17,8.93,17.3,24.56), (23.37,8.93,23.67,20.96), (34.865,14.635,35.235,15.065), (35.695,14.635,36.065,15.065), (34.9,15.065,35.2,20.96), (35.73,15.065,36.03,26.36), (41.83,18.26,42.27,18.7), (56.835,18.26,57.275,18.7), (59.42,18.26,59.86,18.7), (56.905,18.7,57.205,27.885), (59.49,18.7,59.79,28.665), (-4.22,19.16,-3.78,19.6), (39.245,19.16,39.685,19.6), (42.475,19.16,42.915,19.6), (60.065,19.16,60.505,19.6), (-4.2,19.6,-3.8,46.79), (60.135,19.6,60.435,27.885), (-3.62,20.06,-3.18,20.5), (48.875,20.06,49.315,20.5), (53.105,20.06,53.545,20.5), (-3.6,20.5,-3.2,46.79), (48.945,20.5,49.245,27.885), (53.175,20.5,53.475,27.885), (0.19,20.96,0.63,21.4), (13.81,20.96,14.25,21.4), (18.305,20.96,18.745,21.4), (23.3,20.96,23.74,21.4), (24.04,20.96,24.48,21.4), (34.83,20.96,35.27,21.4), (38.6,20.96,39.04,21.4), (13.88,21.4,14.18,36.245), (24.11,21.4,24.41,36.245), (2.565,21.86,3.005,22.3), (25.675,21.86,26.115,22.3), (51.96,21.86,52.4,22.3), (56.19,21.86,56.63,22.3), (62.88,21.86,63.32,22.3), (52.03,22.3,52.33,32.245), (56.26,22.3,56.56,28.455), (62.9,22.3,63.3,36.21), (-3.02,22.76,-2.58,23.2), (17.955,22.76,18.395,23.2), (28.185,22.76,28.625,23.2), (-3,23.2,-2.6,46.79), (18.025,23.2,18.325,27.885), (28.255,23.2,28.555,27.885), (-2.42,23.66,-1.98,24.1), (7.725,23.66,8.165,24.1), (38.415,23.66,38.855,24.1), (-2.4,24.1,-2,46.79), (7.795,24.1,8.095,27.885), (38.485,24.1,38.785,27.885), (3.58,24.56,4.02,25), (10.56,24.56,11,25), (11.935,24.56,12.375,25), (16.93,24.56,17.37,25), (34.27,24.56,34.71,25), (3.65,25,3.95,36.245), (34.34,25,34.64,36.245), (47.73,25.46,48.17,25.9), (47.8,25.9,48.1,30.245), (-1.82,26.36,-1.38,26.8), (35.66,26.36,36.1,26.8), (-1.8,26.8,-1.4,46.79), (48.88,27.885,49.31,28.255), (53.11,27.885,53.54,28.255), (56.84,27.885,57.27,28.255), (60.07,27.885,60.5,28.255), (56.225,28.455,56.595,28.885), (59.455,28.665,59.825,29.095), (47.765,30.245,48.135,30.675), (51.995,32.245,52.365,32.675), (62.85,36.21,63.35,36.71), (3.615,36.245,3.985,36.675), (11.905,36.245,12.275,36.675), (13.845,36.245,14.215,36.675), (22.135,36.245,22.505,36.675), (24.075,36.245,24.445,36.675), (32.365,36.245,32.735,36.675), (34.305,36.245,34.675,36.675), (42.595,36.245,42.965,36.675), (62.9,36.71,63.3,46.79)])
A(ota, via2, 11.99, 25.58, 0.2, 0.2, 4, 1, 10.23, 0)
R(ota, via2, [(-1.7,-0.7,-1.5,-0.5), (41.95,18.38,42.15,18.58), (56.955,18.38,57.155,18.58), (59.54,18.38,59.74,18.58), (-4.1,19.28,-3.9,19.48), (39.365,19.28,39.565,19.48), (42.595,19.28,42.795,19.48), (60.185,19.28,60.385,19.48), (-3.5,20.18,-3.3,20.38), (48.995,20.18,49.195,20.38), (53.225,20.18,53.425,20.38), (0.31,21.08,0.51,21.28), (13.93,21.08,14.13,21.28), (18.425,21.08,18.625,21.28), (23.42,21.08,23.62,21.28), (24.16,21.08,24.36,21.28), (34.95,21.08,35.15,21.28), (38.72,21.08,38.92,21.28), (2.685,21.98,2.885,22.18), (25.795,21.98,25.995,22.18), (52.08,21.98,52.28,22.18), (56.31,21.98,56.51,22.18), (63,21.98,63.2,22.18), (-2.9,22.88,-2.7,23.08), (18.075,22.88,18.275,23.08), (28.305,22.88,28.505,23.08), (-2.3,23.78,-2.1,23.98), (7.845,23.78,8.045,23.98), (38.535,23.78,38.735,23.98), (3.7,24.68,3.9,24.88), (10.68,24.68,10.88,24.88), (12.055,24.68,12.255,24.88), (17.05,24.68,17.25,24.88), (34.39,24.68,34.59,24.88), (47.85,25.58,48.05,25.78), (-1.7,26.48,-1.5,26.68), (35.78,26.48,35.98,26.68), (63,36.36,63.2,36.56)])
R(ota, met3, [(-1.9,-0.9,-1.3,-0.3), (18.16,0.515,20.16,16.915), (41.8,18.23,59.89,18.73), (-4.25,19.13,60.535,19.63), (-3.65,20.03,53.575,20.53), (0.16,20.93,39.07,21.43), (2.535,21.83,63.35,22.33), (-3.05,22.73,28.655,23.23), (-2.45,23.63,38.885,24.13), (3.55,24.53,34.74,25.03), (11.84,25.43,48.2,25.93), (-1.85,26.33,36.13,26.83), (18.16,28.26,20.16,44.66), (62.8,36.16,63.4,36.76)])
R(ota, via3, [(-1.7,-0.7,-1.5,-0.5), (63,36.36,63.2,36.56)])
R(ota, met4, [(-1.9,-0.9,19.46,-0.3), (18.86,-0.3,19.46,0.915), (37.32,0.615,37.8,36.16), (18.1,0.915,20.46,44.26), (37.26,36.16,63.4,36.76), (37.32,36.76,37.8,44.56)])
ota.add(gdstk.Reference(sky130_fd_pr__nfet_01v8_, (4.785,8.715), rotation=pi/2))
ota.add(gdstk.Reference(c_sky130_fd_pr__nfet_01v8_, (13.155,8.715), rotation=pi/2))
ota.add(gdstk.Reference(c_sky130_fd_pr__nfet_01v8_, (19.525,8.715), rotation=pi/2))
ota.add(gdstk.Reference(sky130_fd_pr__nfet_01v8_, (27.895,8.715), rotation=pi/2))
ota.add(gdstk.Reference(sky130_fd_pr__res_xhigh_, (35.465,7.95)))
ota.add(gdstk.Reference(c_sky130_fd_pr__nfet_01v8__, (39.465,0.995)))
ota.add(gdstk.Reference(c_sky130_fd_pr__nfet_01v8__, (42.695,0.995)))
ota.add(gdstk.Reference(sky130_fd_pr__pfet_01v8_, (1.215,36.46)))
ota.add(gdstk.Reference(c_sky130_fd_pr__pfet_01v8_, (7.945,36.46)))
ota.add(gdstk.Reference(c_sky130_fd_pr__pfet_01v8_, (18.175,36.46)))
ota.add(gdstk.Reference(c_sky130_fd_pr__pfet_01v8_, (28.405,36.46)))
ota.add(gdstk.Reference(c_sky130_fd_pr__pfet_01v8_, (38.635,36.46)))
ota.add(gdstk.Reference(sky130_fd_pr__cap_mim_m3, (28.74,36.46)))
ota.add(gdstk.Reference(sky130_fd_pr__cap_mim_m3, (9.58,36.46), rotation=pi, x_reflection=True))
ota.add(gdstk.Reference(sky130_fd_pr__cap_mim_m3, (28.74,8.715)))
ota.add(gdstk.Reference(sky130_fd_pr__cap_mim_m3, (9.58,8.715), rotation=pi, x_reflection=True))
ota.add(gdstk.Reference(c_sky130_fd_pr__pfet_01v8__, (60.285,28.88)))
ota.add(gdstk.Reference(c_sky130_fd_pr__pfet_01v8___, (57.055,28.67)))
ota.add(gdstk.Reference(c_sky130_fd_pr__pfet_01v8____, (53.325,32.46)))
ota.add(gdstk.Reference(c_sky130_fd_pr__pfet_01v8_____, (49.095,30.46)))
ota.add(gdstk.Reference(sky130_fd_pr__pfet_01v8_, (45.365,36.46)))
ota.add(gdstk.Label('VGND', (-4.6,46.49), layer=68, texttype=5))
ota.add(gdstk.Label('VDPWR', (63.7,46.49), layer=68, texttype=5))
ota.add(gdstk.Label('inn', (-2.2,46.49), layer=69, texttype=5))
ota.add(gdstk.Label('inp', (-2.8,46.49), layer=69, texttype=5))
ota.add(gdstk.Label('pbias', (-3.4,46.49), layer=69, texttype=5))
ota.add(gdstk.Label('pd', (-4,46.49), layer=69, texttype=5))
ota.add(gdstk.Label('out', (63.1,46.49), layer=69, texttype=5))

lib.write_gds('ota.gds')
